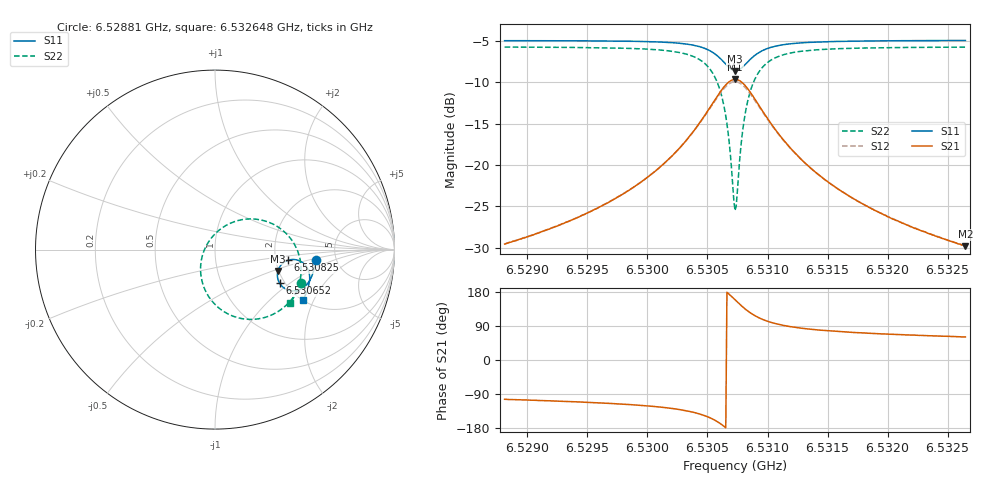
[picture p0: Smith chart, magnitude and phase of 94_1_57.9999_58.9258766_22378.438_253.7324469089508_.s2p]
#  HZ  S  RI  R  50.00
! Rohde & Schwarz Vector Network Analyzer
! Rohde-Schwarz,ZNB20-2Port,1311601062101988,3.16
! Created: UTC 3/21/2024, 12:54:25 AM
! freq[Hz]  re:S11  im:S11  re:S21  im:S21  re:S12  im:S12  re:S22  im:S22
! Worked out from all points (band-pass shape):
!   401 points, 6.52881 GHz to 6.532648 GHz, reference 50 ohm
!   highest |S21| = -9.66 dB at 6.530729 GHz (marker M1); lowest = -29.8 dB at 6.532648 GHz (marker M2)
!   |S21| within 3 dB of the highest: 6.530538 GHz to 6.530922 GHz (384.2 kHz wide, 0.00588 % of centre)
!   lowest |S11| = -8.6 dB at 6.530729 GHz (marker M3), VSWR 2.18, Z = 98.9 - j27.4 ohm
!   |S11| at or under -10 dB: nowhere
!   |S22| runs from -25.5 to -5.8 dB; largest |S21 - S12| = 0.014
!   S11 on the Smith chart (normalised r, x): 6.52881 GHz: 3.48, -0.57; 6.530652 GHz: 1.88, -0.85; 6.530825 GHz: 2.35, -0.33; 6.532648 GHz: 2.01, -1.66
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6.5288099e9  0.5607 -0.0556  -0.00786 -0.0324  -0.0087 -0.0323  0.4808 -0.1854
6.5294529e9  0.5513 -0.1106  -0.0179 -0.0463  -0.019 -0.0458  0.4485 -0.2475
6.5298272e9  0.5397 -0.1471  -0.0316 -0.0614  -0.0333 -0.0606  0.4126 -0.2942
6.5300959e9  0.5239 -0.1783  -0.0535 -0.0796  -0.0559 -0.078  0.3627 -0.3377
6.5303262e9  0.4945 -0.2101  -0.0987 -0.1018  -0.1018 -0.0982  0.2715 -0.3798
6.5304893e9  0.4465 -0.2294  -0.1749 -0.1077  -0.1774 -0.1001  0.132 -0.3804
6.5305853e9  0.3972 -0.221  -0.2516 -0.0751  -0.2502 -0.0641  0.00511 -0.3103
6.5306237e9  0.375 -0.2057  -0.2846 -0.0419  -0.2799 -0.0303  -0.0438 -0.2476
6.5306524e9  0.3604 -0.1878  -0.3046 -0.00647  -0.2972 0.00439  -0.0702 -0.1844
6.5306812e9  0.3504 -0.1647  -0.3165 0.0371  -0.3063 0.0462  -0.0806 -0.1101
6.5307196e9  0.3486 -0.1286  -0.3121 0.1019  -0.2998 0.1069  -0.0606 -0.00509
6.5307292e9  0.3504 -0.1195  -0.3071 0.1177  -0.2946 0.1217  -0.0492 0.0199
6.5307484e9  0.357 -0.1023  -0.2922 0.1477  -0.2799 0.1494  -0.0193 0.0659
6.5307868e9  0.3795 -0.0745  -0.2485 0.1945  -0.2381 0.1927  0.0609 0.1347
6.5308252e9  0.408 -0.059  -0.1966 0.2202  -0.1889 0.2164  0.1513 0.1669
6.5308924e9  0.4543 -0.0571  -0.116 0.2234  -0.112 0.2198  0.2869 0.1568
6.5309883e9  0.4955 -0.0789  -0.046 0.1912  -0.0442 0.1891  0.3999 0.0862
6.5311323e9  0.5201 -0.1156  -0.00344 0.1418  -0.00204 0.141  0.4628 -0.0145
6.5313722e9  0.5277 -0.1597  0.0152 0.0928  0.0162 0.0926  0.4798 -0.1166
6.5316793e9  0.5229 -0.1981  0.0186 0.0622  0.0195 0.062  0.47 -0.1881
6.5320151e9  0.5131 -0.2304  0.018 0.0448  0.0187 0.0447  0.4534 -0.2364
6.5326485e9  0.4906 -0.2804  0.0158 0.0283  0.0163 0.0281  0.4206 -0.2969
